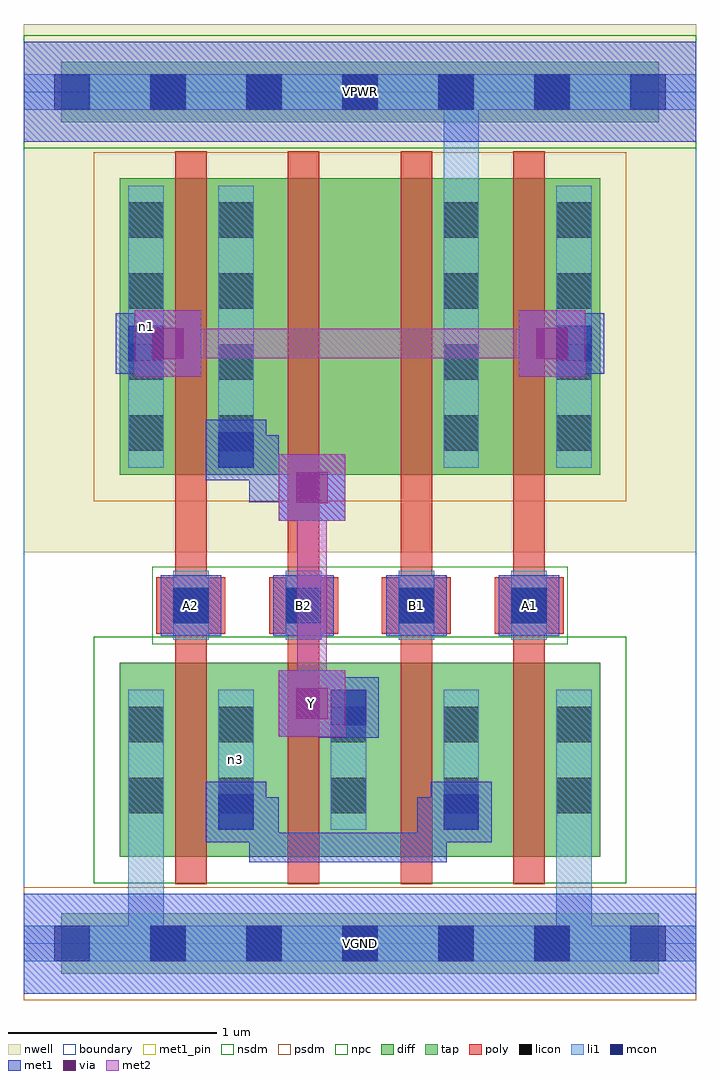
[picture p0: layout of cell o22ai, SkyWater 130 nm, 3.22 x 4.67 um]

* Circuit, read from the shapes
.subckt o22ai A1 A2 B1 B2 VGND VPWR Y n1 n3
XM1 n3 A2 VGND VGND sky130_fd_pr__nfet_01v8 w=0.93 l=0.15
XM2 Y B2 n3 VGND sky130_fd_pr__nfet_01v8 w=0.93 l=0.15
XM3 n3 B1 Y VGND sky130_fd_pr__nfet_01v8 w=0.93 l=0.15
XM4 VGND A1 n3 VGND sky130_fd_pr__nfet_01v8 w=0.93 l=0.15
XM5 Y A2 n1 VPWR sky130_fd_pr__pfet_01v8 w=1.42 l=0.15
XM6 n2 B2 Y VPWR sky130_fd_pr__pfet_01v8 w=1.42 l=0.15
XM7 VPWR B1 n2 VPWR sky130_fd_pr__pfet_01v8 w=1.42 l=0.15
XM8 n1 A1 VPWR VPWR sky130_fd_pr__pfet_01v8 w=1.42 l=0.15
.ends

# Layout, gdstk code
import gdstk
lib = gdstk.Library(unit=1e-6, precision=1e-09)
def R(c, l, rs):  # rectangles x0, y0, x1, y1
    for r in rs: c.add(gdstk.rectangle(r[:2], r[2:], *l))
def A(c, l, x, y, w, h, nx, ny, dx, dy):  # array of equal rectangles
    R(c, l, [(x+i*dx, y+j*dy, x+i*dx+w, y+j*dy+h) for i in range(nx) for j in range(ny)])
nwell = (64, 20)
diff = (65, 20)
tap = (65, 44)
poly = (66, 20)
licon = (66, 44)
li1 = (67, 20)
mcon = (67, 44)
met1_pin = (68, 16)
met1 = (68, 20)
via = (68, 44)
met2 = (69, 20)
nsdm = (93, 44)
psdm = (94, 20)
npc = (95, 20)
boundary = (235, 4)

o22ai = lib.new_cell('o22ai')
R(o22ai, nwell, [(0,1.875,3.22,4.405)])
R(o22ai, diff, [(0.46,0.415,2.76,1.345), (0.46,2.245,2.76,3.665)])
R(o22ai, tap, [(0.18,-0.145,3.04,0.145), (0.18,3.935,3.04,4.225)])
A(o22ai, poly, 0.725, 0.285, 0.15, 3.51, 4, 1, 0.54, 0)
A(o22ai, poly, 0.635, 1.485, 0.33, 0.27, 4, 1, 0.54, 0)
A(o22ai, licon, 0.605, -0.085, 0.17, 0.17, 5, 2, 0.46, 4.08)
A(o22ai, licon, 0.93, 0.625, 0.17, 0.17, 4, 2, 0.54, 0.34)
A(o22ai, licon, 0.715, 1.535, 0.17, 0.17, 4, 1, 0.54, 0)
A(o22ai, licon, 0.5, 2.36, 0.17, 0.17, 1, 4, 0, 0.34)
A(o22ai, licon, 0.93, 2.36, 0.17, 0.17, 1, 4, 0, 0.34)
A(o22ai, licon, 2.01, 2.36, 0.17, 0.17, 1, 4, 0, 0.34)
A(o22ai, licon, 2.55, 2.36, 0.17, 0.17, 1, 4, 0, 0.34)
R(o22ai, licon, [(0.5,0.625,0.67,0.795), (0.5,0.965,0.67,1.135)])
A(o22ai, li1, 0.93, 0.545, 0.17, 0.67, 4, 1, 0.54, 0)
A(o22ai, li1, 0.715, 1.455, 0.17, 0.33, 4, 1, 0.54, 0)
R(o22ai, li1, [(0,-0.085,3.22,0.085), (0.5,-0.085,0.67,1.215), (2.55,-0.085,2.72,1.215), (0.5,0.545,0.67,1.215), (0.5,2.28,0.67,3.63), (0.93,2.28,1.1,3.63), (2.01,2.28,2.18,3.63), (2.01,2.28,2.18,4.165), (2.55,2.28,2.72,3.63), (0,3.995,3.22,4.165)])
A(o22ai, mcon, 0.145, -0.085, 0.17, 0.17, 7, 2, 0.46, 4.08)
A(o22ai, mcon, 0.715, 1.535, 0.17, 0.17, 4, 1, 0.54, 0)
R(o22ai, mcon, [(0.93,0.545,1.1,0.715), (2.01,0.545,2.18,0.715), (1.47,1.045,1.64,1.215), (0.93,2.28,1.1,2.45), (0.5,2.79,0.67,2.96), (2.55,2.79,2.72,2.96)])
A(o22ai, met1_pin, 0.655, 1.475, 0.29, 0.29, 4, 1, 0.54, 0)
R(o22ai, met1_pin, [(0,-0.24,3.22,0.24), (1.22,0.99,1.54,1.31), (0,3.84,3.22,4.32)])
A(o22ai, met1, 0.655, 1.475, 0.29, 0.29, 4, 1, 0.54, 0)
R(o22ai, met1, [(0,-0.24,3.22,0.24), (1.08,0.39,1.22,0.7), (1.08,0.39,2.025,0.53), (1.885,0.39,2.025,0.7), (0.87,0.485,1.16,0.775), (1.95,0.485,2.24,0.775), (0.945,0.56,1.22,0.7), (1.885,0.56,2.165,0.7), (1.41,0.985,1.7,1.275), (1.22,0.99,1.54,1.31), (1.31,1.06,1.625,1.2), (1.31,1.06,1.45,1.22), (1.22,2.025,1.54,2.345), (1.08,2.115,1.22,2.435), (1.08,2.115,1.45,2.255), (0.87,2.22,1.16,2.51), (0.945,2.295,1.22,2.435), (0.53,2.715,0.85,3.035), (2.37,2.715,2.69,3.035), (0.44,2.73,0.73,3.02), (2.49,2.73,2.78,3.02), (0.515,2.805,0.76,2.945), (2.46,2.805,2.705,2.945), (0,3.84,3.22,4.32)])
R(o22ai, via, [(1.305,1.075,1.455,1.225), (1.305,2.11,1.455,2.26), (0.615,2.8,0.765,2.95), (2.455,2.8,2.605,2.95)])
R(o22ai, met2, [(1.22,0.99,1.54,1.31), (1.31,1.08,1.45,2.255), (1.22,2.025,1.54,2.345), (0.53,2.715,0.85,3.035), (2.37,2.715,2.69,3.035), (0.62,2.805,2.6,2.945)])
R(o22ai, nsdm, [(0.335,0.29,2.885,1.47), (0,3.81,3.22,4.35)])
R(o22ai, psdm, [(0,-0.27,3.22,0.27), (0.335,2.12,2.885,3.79)])
R(o22ai, npc, [(0.615,1.435,2.605,1.805)])
R(o22ai, boundary, [(0,0,3.22,4.08)])
o22ai.add(gdstk.Label('n3', (1.015,0.88), layer=67, texttype=5))
o22ai.add(gdstk.Label('n1', (0.585,2.955), layer=67, texttype=5))
o22ai.add(gdstk.Label('A1', (2.42,1.62), layer=68, texttype=5))
o22ai.add(gdstk.Label('A2', (0.8,1.62), layer=68, texttype=5))
o22ai.add(gdstk.Label('B1', (1.88,1.62), layer=68, texttype=5))
o22ai.add(gdstk.Label('B2', (1.34,1.62), layer=68, texttype=5))
o22ai.add(gdstk.Label('Y', (1.38,1.15), layer=68, texttype=5))
o22ai.add(gdstk.Label('VPWR', (1.61,4.08), layer=68, texttype=5))
o22ai.add(gdstk.Label('VGND', (1.61,0), layer=68, texttype=5))
o22ai.add(gdstk.Label('A1', (2.42,1.62), layer=68, texttype=16))
o22ai.add(gdstk.Label('A2', (0.8,1.62), layer=68, texttype=16))
o22ai.add(gdstk.Label('B1', (1.88,1.62), layer=68, texttype=16))
o22ai.add(gdstk.Label('B2', (1.34,1.62), layer=68, texttype=16))
o22ai.add(gdstk.Label('Y', (1.38,1.15), layer=68, texttype=16))
o22ai.add(gdstk.Label('VPWR', (1.61,4.08), layer=68, texttype=16))
o22ai.add(gdstk.Label('VGND', (1.61,0), layer=68, texttype=16))

lib.write_gds('o22ai.gds')
